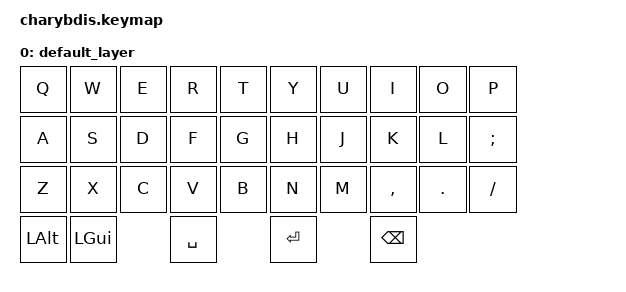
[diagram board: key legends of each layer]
#include <behaviors.dtsi>
#include <dt-bindings/zmk/keys.h>
#include <dt-bindings/zmk/pointing.h>

#define BASE 0

/ {
    keymap {
        compatible = "zmk,keymap";

        default_layer {
            bindings = <
                &kp Q &kp W &kp E &kp R &kp T     &kp Y &kp U &kp I &kp O &kp P
                &kp A &kp S &kp D &kp F &kp G     &kp H &kp J &kp K &kp L &kp SEMI
                &kp Z &kp X &kp C &kp V &kp B     &kp N &kp M &kp COMMA &kp DOT &kp FSLH
                &kp LALT &kp LGUI &kp SPACE         &kp RET &kp BKSP
            >;
        };
    };
};
